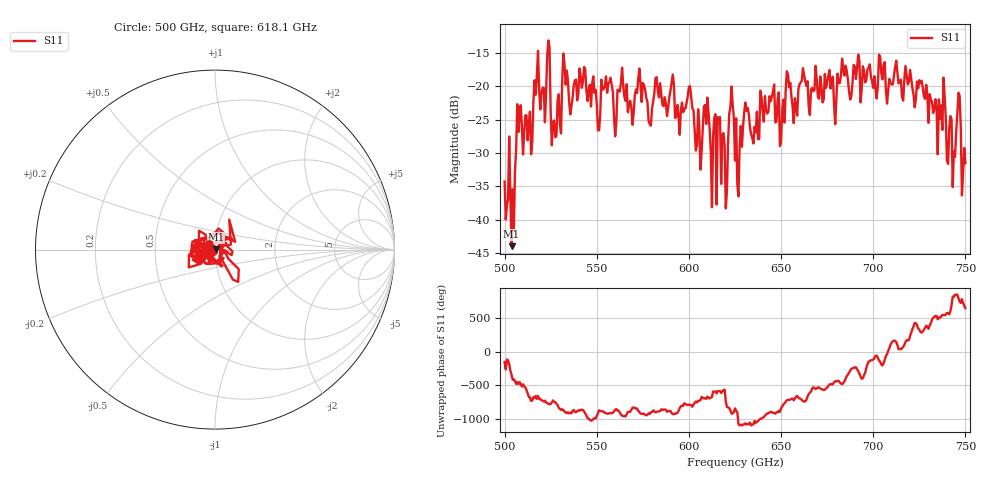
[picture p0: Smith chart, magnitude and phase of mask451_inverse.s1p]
!Created with skrf (http://scikit-rf.org).
# GHz S MA R 50.0
!freq magS11 angS11
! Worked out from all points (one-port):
!   401 points, 500 GHz to 750 GHz, reference 50 ohm
!   lowest |S11| = -44.0 dB at 503.8 GHz (marker M1), VSWR 1.01, Z = 50.6 + j0.229 ohm
!   |S11| at or under -10 dB: start of sweep to end of sweep
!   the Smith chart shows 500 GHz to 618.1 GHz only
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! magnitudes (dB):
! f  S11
! 500 GHz  -34.3
! 503.8 GHz  -44.0
! 507.5 GHz  -26.9
! 513.8 GHz  -23.8
! 516.9 GHz  -21.2
! 523.8 GHz  -13.1
! 526.9 GHz  -25.1
! 531.2 GHz  -19.1
! 542.5 GHz  -19.3
! 550.6 GHz  -26.6
! 562.5 GHz  -20.8
! 578.8 GHz  -25.7
! 590.6 GHz  -19.4
! 593.8 GHz  -22.8
! 600.6 GHz  -20.0
! 605.6 GHz  -26.0
! 609.4 GHz  -25.7
! 620 GHz  -38.3
! 623.1 GHz  -20.0
! 625 GHz  -31.1
! 627.5 GHz  -29.1
! 656.2 GHz  -23.0
! 687.5 GHz  -22.0
! 718.8 GHz  -19.7
! 738.1 GHz  -18.7
! 743.8 GHz  -29.7
! 746.2 GHz  -21.0
! 750 GHz  -31.5
